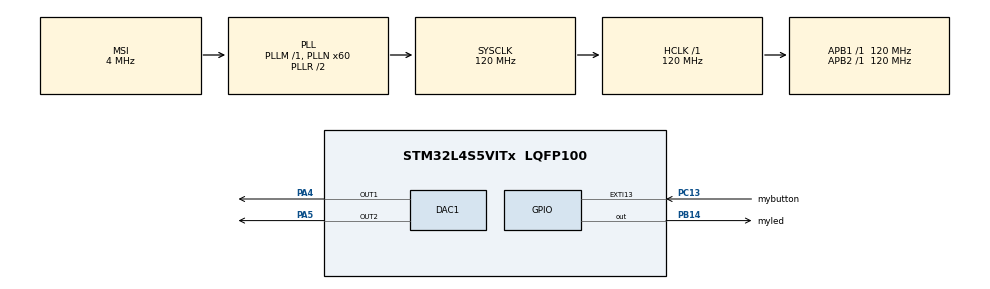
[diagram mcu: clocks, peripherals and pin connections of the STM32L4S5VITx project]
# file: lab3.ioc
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DAC1.DAC_Channel-DAC_OUT2=DAC_CHANNEL_2
Mcu.Family=STM32L4
Mcu.Name=STM32L4S5VITx
Mcu.Package=LQFP100
NVIC.EXTI15_10_IRQn=true\:0\:0\:false\:false\:true\:true\:true\:true
NVIC.PriorityGroup=NVIC_PRIORITYGROUP_4
PA4.Signal=COMP_DAC11_group
PA5.Signal=COMP_DAC12_group
PB14.GPIO_Label=myled
PB14.Signal=GPIO_Output
PC13.GPIO_Label=mybutton
PC13.Signal=GPXTI13
ProjectManager.HeapSize=0x200
ProjectManager.StackSize=0x400
ProjectManager.TargetToolchain=STM32CubeIDE
RCC.ADCFreq_Value=48000000
RCC.AHBFreq_Value=120000000
RCC.APB1Freq_Value=120000000
RCC.APB1TimFreq_Value=120000000
RCC.APB2Freq_Value=120000000
RCC.APB2TimFreq_Value=120000000
RCC.CortexFreq_Value=120000000
RCC.HCLKFreq_Value=120000000
RCC.HSE_VALUE=8000000
RCC.HSI48_VALUE=48000000
RCC.HSI_VALUE=16000000
RCC.LSE_VALUE=32768
RCC.MSI_VALUE=4000000
RCC.PLLN=60
RCC.PLLSAI1N=24
RCC.SYSCLKFreq_VALUE=120000000
RCC.SYSCLKSource=RCC_SYSCLKSOURCE_PLLCLK
RCC.USBFreq_Value=48000000
RCC.VCOOutputFreq_Value=240000000
SH.COMP_DAC11_group.0=DAC1_OUT1,DAC_OUT1
SH.COMP_DAC12_group.0=DAC1_OUT2,DAC_OUT2
board=B-L4S5I-IOT01A

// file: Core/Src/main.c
/* USER CODE BEGIN Header */
/**
  ******************************************************************************
  * @file           : main.c
  * @brief          : Main program body
  ******************************************************************************
  * @attention
  *
  * Copyright (c) 2023 STMicroelectronics.
  * All rights reserved.
  *
  * This software is licensed under terms that can be found in the LICENSE file
  * in the root directory of this software component.
  * If no LICENSE file comes with this software, it is provided AS-IS.
  *
  ******************************************************************************
  */
/* USER CODE END Header */
#include "main.h"

/* USER CODE BEGIN Includes */
#include "arm_math.h"
#include <math.h>
#include "stm32l4xx_hal_conf.h"

#define TABLE_SIZE 256
uint16_t sine_table[TABLE_SIZE];
/* USER CODE END Includes */

DAC_HandleTypeDef hdac1;

void SystemClock_Config(void);
static void MX_GPIO_Init(void);
static void MX_DAC1_Init(void);

/* USER CODE BEGIN 0 */
int i =0;
float b = 0;
int k=0;
float angle;
int wa= 0;
/* USER CODE END 0 */

int main(void)
{
  /* USER CODE BEGIN 1 */
	// Generate a lookup table of sine values
	    for (i = 0; i < TABLE_SIZE; i++)
	    {
	        angle = 2 * M_PI * i / TABLE_SIZE;
	        sine_table[i] = (uint16_t)(2048 + 2047 * arm_sin_f32(angle));
	    }
  /* USER CODE END 1 */

  /* MCU Configuration--------------------------------------------------------*/

  /* Reset of all peripherals, Initializes the Flash interface and the Systick. */
  HAL_Init();

  /* Configure the system clock */
  SystemClock_Config();

  /* Initialize all configured peripherals */
  MX_GPIO_Init();
  MX_DAC1_Init();
  /* USER CODE BEGIN 2 */
  HAL_DAC_Start(&hdac1, DAC_CHANNEL_1);
  /* USER CODE END 2 */

  /* Infinite loop */
  while (1)
  {

    /* USER CODE BEGIN 3 */
	  //triangle wave
		  for (i = 0; i < 4095; i+=273)
			  {
				  // increment the DAC output voltage
				  HAL_DAC_SetValue(&hdac1, DAC_CHANNEL_1, DAC_ALIGN_12B_R, i);

				  // wait for a short time to slow down the signal
				  HAL_Delay(1);
			  }

		  for (i = 4095; i > 0; i-=273)
			  {
				  // decrement the DAC output voltage
				  HAL_DAC_SetValue(&hdac1, DAC_CHANNEL_1, DAC_ALIGN_12B_R, i);

				  // wait for a short time to slow down the signal
				  HAL_Delay(1);
			  }

	  //sawtooth
	  		  for (wa= 0; wa < 4095; wa+=137)
	  			  {
	  				  // increment the DAC output voltage
	  				  HAL_DAC_SetValue(&hdac1, DAC_CHANNEL_1, DAC_ALIGN_12B_R, wa);

	  				  // wait for a short time to slow down the signal
	  				  HAL_Delay(1);
	  			  }
	  		HAL_DAC_SetValue(&hdac1, DAC_CHANNEL_1, DAC_ALIGN_12B_R, wa);

	  //sine wave
	  for (int kk = 0; kk < TABLE_SIZE; kk++)
	          {
		  	  	  k = sine_table[kk];
	              HAL_DAC_SetValue(&hdac1, DAC_CHANNEL_1, DAC_ALIGN_12B_R, k);
	              HAL_Delay(1);
	          }
  }
  /* USER CODE END 3 */
}

void SystemClock_Config(void)
{
  RCC_OscInitTypeDef RCC_OscInitStruct = {0};
  RCC_ClkInitTypeDef RCC_ClkInitStruct = {0};

  /** Configure the main internal regulator output voltage
  */
  if (HAL_PWREx_ControlVoltageScaling(PWR_REGULATOR_VOLTAGE_SCALE1_BOOST) != HAL_OK)
  {
    Error_Handler();
  }

  /** Initializes the RCC Oscillators according to the specified parameters
  * in the RCC_OscInitTypeDef structure.
  */
  RCC_OscInitStruct.OscillatorType = RCC_OSCILLATORTYPE_MSI;
  RCC_OscInitStruct.MSIState = RCC_MSI_ON;
  RCC_OscInitStruct.MSICalibrationValue = 0;
  RCC_OscInitStruct.MSIClockRange = RCC_MSIRANGE_6;
  RCC_OscInitStruct.PLL.PLLState = RCC_PLL_ON;
  RCC_OscInitStruct.PLL.PLLSource = RCC_PLLSOURCE_MSI;
  RCC_OscInitStruct.PLL.PLLM = 1;
  RCC_OscInitStruct.PLL.PLLN = 60;
  RCC_OscInitStruct.PLL.PLLP = RCC_PLLP_DIV2;
  RCC_OscInitStruct.PLL.PLLQ = RCC_PLLQ_DIV2;
  RCC_OscInitStruct.PLL.PLLR = RCC_PLLR_DIV2;
  if (HAL_RCC_OscConfig(&RCC_OscInitStruct) != HAL_OK)
  {
    Error_Handler();
  }

  /** Initializes the CPU, AHB and APB buses clocks
  */
  RCC_ClkInitStruct.ClockType = RCC_CLOCKTYPE_HCLK|RCC_CLOCKTYPE_SYSCLK
                              |RCC_CLOCKTYPE_PCLK1|RCC_CLOCKTYPE_PCLK2;
  RCC_ClkInitStruct.SYSCLKSource = RCC_SYSCLKSOURCE_PLLCLK;
  RCC_ClkInitStruct.AHBCLKDivider = RCC_SYSCLK_DIV1;
  RCC_ClkInitStruct.APB1CLKDivider = RCC_HCLK_DIV1;
  RCC_ClkInitStruct.APB2CLKDivider = RCC_HCLK_DIV1;

  if (HAL_RCC_ClockConfig(&RCC_ClkInitStruct, FLASH_LATENCY_5) != HAL_OK)
  {
    Error_Handler();
  }
}

static void MX_DAC1_Init(void)
{

  DAC_ChannelConfTypeDef sConfig = {0};

  /** DAC Initialization
  */
  hdac1.Instance = DAC1;
  if (HAL_DAC_Init(&hdac1) != HAL_OK)
  {
    Error_Handler();
  }

  /** DAC channel OUT1 config
  */
  sConfig.DAC_SampleAndHold = DAC_SAMPLEANDHOLD_DISABLE;
  sConfig.DAC_Trigger = DAC_TRIGGER_NONE;
  sConfig.DAC_HighFrequency = DAC_HIGH_FREQUENCY_INTERFACE_MODE_ABOVE_80MHZ;
  sConfig.DAC_OutputBuffer = DAC_OUTPUTBUFFER_ENABLE;
  sConfig.DAC_ConnectOnChipPeripheral = DAC_CHIPCONNECT_DISABLE;
  sConfig.DAC_UserTrimming = DAC_TRIMMING_FACTORY;
  if (HAL_DAC_ConfigChannel(&hdac1, &sConfig, DAC_CHANNEL_1) != HAL_OK)
  {
    Error_Handler();
  }

  /** DAC channel OUT2 config
  */
  if (HAL_DAC_ConfigChannel(&hdac1, &sConfig, DAC_CHANNEL_2) != HAL_OK)
  {
    Error_Handler();
  }

}

static void MX_GPIO_Init(void)
{
  GPIO_InitTypeDef GPIO_InitStruct = {0};

  /* GPIO Ports Clock Enable */
  __HAL_RCC_GPIOC_CLK_ENABLE();
  __HAL_RCC_GPIOA_CLK_ENABLE();
  __HAL_RCC_GPIOB_CLK_ENABLE();

  /*Configure GPIO pin Output Level */
  HAL_GPIO_WritePin(myled_GPIO_Port, myled_Pin, GPIO_PIN_RESET);

  /*Configure GPIO pin : mybutton_Pin */
  GPIO_InitStruct.Pin = mybutton_Pin;
  GPIO_InitStruct.Mode = GPIO_MODE_IT_RISING;
  GPIO_InitStruct.Pull = GPIO_NOPULL;
  HAL_GPIO_Init(mybutton_GPIO_Port, &GPIO_InitStruct);

  /*Configure GPIO pin : myled_Pin */
  GPIO_InitStruct.Pin = myled_Pin;
  GPIO_InitStruct.Mode = GPIO_MODE_OUTPUT_PP;
  GPIO_InitStruct.Pull = GPIO_NOPULL;
  GPIO_InitStruct.Speed = GPIO_SPEED_FREQ_LOW;
  HAL_GPIO_Init(myled_GPIO_Port, &GPIO_InitStruct);

  /* EXTI interrupt init*/
  HAL_NVIC_SetPriority(EXTI15_10_IRQn, 0, 0);
  HAL_NVIC_EnableIRQ(EXTI15_10_IRQn);

}

void Error_Handler(void)
{
  __disable_irq();
  while (1)
  {
  }
}
